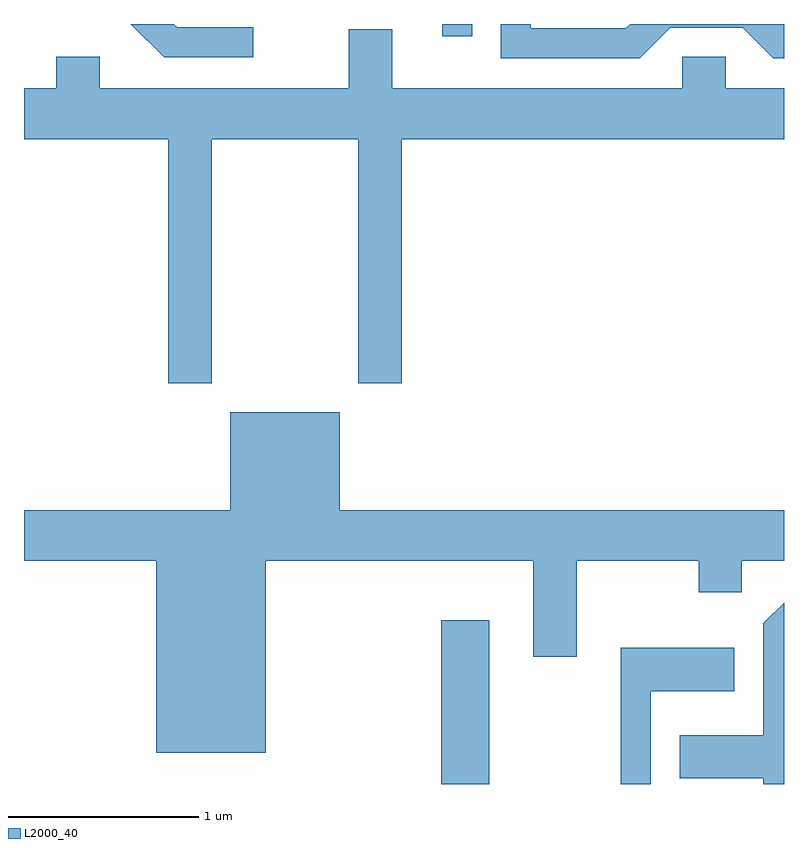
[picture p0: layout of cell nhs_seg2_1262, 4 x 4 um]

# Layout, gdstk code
import gdstk
lib = gdstk.Library(unit=1e-6, precision=1e-09)
def R(c, l, rs):  # rectangles x0, y0, x1, y1
    for r in rs: c.add(gdstk.rectangle(r[:2], r[2:], *l))
def P(c, l, *ps):  # polygons
    for p in ps: c.add(gdstk.Polygon(p, *l))
L2000_40 = (2000, 40)

nhs_seg2_1262 = lib.new_cell('nhs_seg2_1262')
R(nhs_seg2_1262, L2000_40, [(223.806,1053.802,224.059,1054.664), (223.811,1057.738,223.969,1057.802)])
P(nhs_seg2_1262, L2000_40, [(225.012,1057.781),(225.394,1057.781),(225.554,1057.621),(225.611,1057.621),(225.611,1057.802),(224.802,1057.802),(224.779,1057.779),(224.279,1057.779),(224.279,1057.802),(224.121,1057.802),(224.121,1057.621),(224.852,1057.621)],
  [(222.818,1057.784),(222.417,1057.784),(222.399,1057.802),(222.173,1057.802),(222.349,1057.626),(222.818,1057.626)],
  [(222.599,1057.196),(223.371,1057.196),(223.371,1055.911),(223.599,1055.911),(223.599,1057.196),(225.611,1057.196),(225.611,1057.464),(225.304,1057.464),(225.304,1057.629),(225.076,1057.629),(225.076,1057.464),(223.549,1057.464),(223.549,1057.774),(223.321,1057.774),(223.321,1057.464),(222.009,1057.464),(222.009,1057.629),(221.781,1057.629),(221.781,1057.464),(221.611,1057.464),(221.611,1057.196),(222.371,1057.196),(222.371,1055.911),(222.599,1055.911)],
  [(222.884,1054.976),(224.291,1054.976),(224.291,1054.471),(224.519,1054.471),(224.519,1054.976),(225.161,1054.976),(225.161,1054.811),(225.389,1054.811),(225.389,1054.976),(225.611,1054.976),(225.611,1055.244),(223.274,1055.244),(223.274,1055.759),(222.696,1055.759),(222.696,1055.244),(221.611,1055.244),(221.611,1054.976),(222.306,1054.976),(222.306,1053.966),(222.884,1053.966)],
  [(225.611,1054.756),(225.501,1054.647),(225.501,1054.059),(225.061,1054.059),(225.061,1053.831),(225.501,1053.831),(225.501,1053.802),(225.611,1053.802)],
  [(224.909,1054.291),(225.349,1054.291),(225.349,1054.519),(224.751,1054.519),(224.751,1053.802),(224.909,1053.802)])

lib.write_gds('nhs_seg2_1262.gds')
